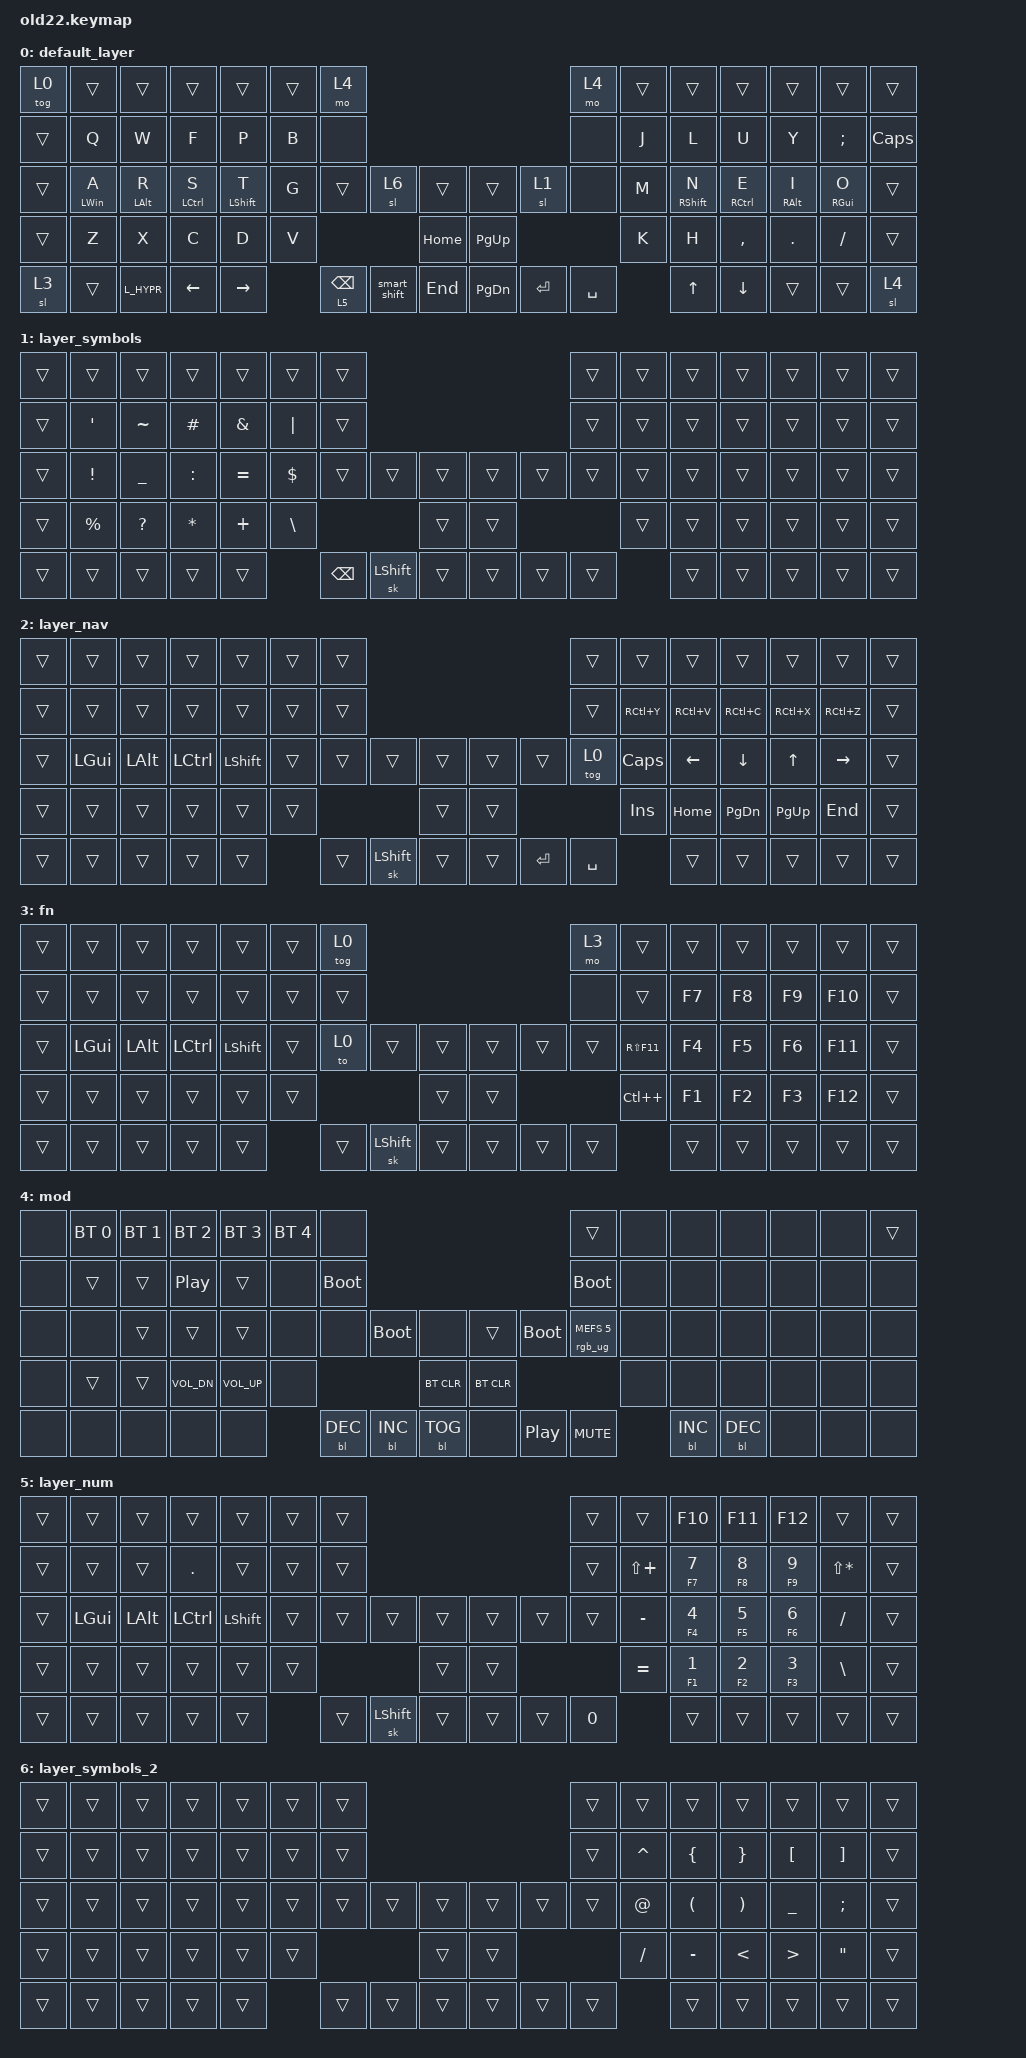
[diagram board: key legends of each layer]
#include "general.h"
#include <behaviors.dtsi>
#include <dt-bindings/zmk/backlight.h>
#include <dt-bindings/zmk/bt.h>
#include <dt-bindings/zmk/keys.h>
#include <dt-bindings/zmk/rgb.h>

/ {
    behaviors {
        #include "macros.dtsi"
      #include "version.dtsi"
      #ifndef VERSION_MACRO

        #endif

        hm: homerow_mods {
            compatible = "zmk,behavior-hold-tap";
            label = "HOMEROW_MODS";
            #binding-cells = <2>;
            tapping-term-ms = <280>;
            flavor = "balanced";
            bindings = <&kp>, <&kp>;

            require-prior-idle-ms = <150>;
            quick-tap-ms = <175>;
            hold-trigger-key-positions = <29 30 31 32 41 42 43 44 15 16 63 64 24>;
            hold-trigger-on-release;
        };

        smart_shift: smart_shift {
            compatible = "zmk,behavior-mod-morph";
            label = "SMART_SHIFT";
            bindings = <&sk LEFT_SHIFT>, <&caps_word>;

            #binding-cells = <0>;
            mods = <(MOD_LSFT)>;
        };

        smart_backspace: smart_backspace {
            compatible = "zmk,behavior-hold-tap";
            label = "SMART_BACKSPACE";
            bindings = <&mo>, <&kp>;

            #binding-cells = <2>;
            quick-tap-ms = <175>;
            tapping-term-ms = <280>;
            hold-trigger-key-positions = <65>;
            flavor = "balanced";
            require-prior-idle-ms = <150>;
            hold-trigger-on-release;
        };

        long_hold_mt: long_hold_mt {
            compatible = "zmk,behavior-hold-tap";
            label = "LONG_HOLD_MT";
            bindings = <&kp>, <&kp>;

            #binding-cells = <2>;
            tapping-term-ms = <500>;
            flavor = "balanced";
            hold-trigger-key-positions = <55 56 57 43 42 41 23 24 25 70>;
        };
    };

    macros {
        vim_write: vim_write {
            compatible = "zmk,behavior-macro";
            #binding-cells = <0>;
            bindings = <&kp COLON &kp W &kp ENTER>;
            label = "VIM_WRITE";
        };

        vim_quit: vim_quit {
            compatible = "zmk,behavior-macro";
            #binding-cells = <0>;
            bindings = <&kp COLON &kp Q &kp EXCL &kp ENTER>;
            label = "VIM_QUIT";
        };

        select_line: select_line {
            compatible = "zmk,behavior-macro";
            #binding-cells = <0>;
            bindings =
                <&kp HOME>,
                <&macro_press>,
                <&kp LEFT_SHIFT>,
                <&macro_tap>,
                <&kp END>,
                <&macro_release>,
                <&kp LEFT_SHIFT>;

            label = "SELECT_LINE";
        };

        L_HYPR: L_HYPR {
            compatible = "zmk,behavior-macro";
            #binding-cells = <0>;
            bindings = <&kp LC(LS(LA(LEFT_GUI)))>;
            label = "L_HYPR";
        };
    };

    combos {
        compatible = "zmk,combos";

        esc_homerow {
            bindings = <&kp ESC>;
            key-positions = <17 18>;
        };

        tab_homerow {
            bindings = <&kp TAB>;
            key-positions = <23 24>;
        };

        combo_vimwrite {
            bindings = <&vim_write>;
            key-positions = <50 51>;
        };

        combo_vimquit {
            bindings = <&vim_quit>;
            key-positions = <54 55>;
        };

        move_workspace_left {
            bindings = <&kp LG(LC(LEFT_ARROW))>;
            key-positions = <33 32>;
        };

        move_workspace_right {
            bindings = <&kp RG(RC(RIGHT_ARROW))>;
            key-positions = <41 40>;
        };

        select_line {
            bindings = <&select_line>;
            key-positions = <47 48>;
        };

        num_word {
            bindings = <&tog 5>;
            key-positions = <65 70>;
        };

        hyphen {
            bindings = <&kp MINUS>;
            key-positions = <58 57>;
        };

        dot {
            bindings = <&kp DOT>;
            key-positions = <57 56>;
            layers = <5>;
        };
    };

    keymap {
        compatible = "zmk,keymap";

        default_layer {
            bindings = <
&tog 0  &trans          &trans          &trans              &trans            &trans  &mo 4                                                                           &mo 4      &trans  &trans             &trans               &trans           &trans           &trans
&trans  &kp Q           &kp W           &kp F               &kp P             &kp B   &none                                                                           &none      &kp J   &kp L              &kp U                &kp Y            &kp SEMICOLON    &kp CAPSLOCK
&trans  &hm LEFT_WIN A  &hm LEFT_ALT R  &hm LEFT_CONTROL S  &hm LEFT_SHIFT T  &kp G   &trans                        &sl 6         &trans        &trans     &sl 1      &none      &kp M   &hm RIGHT_SHIFT N  &hm RIGHT_CONTROL E  &hm RIGHT_ALT I  &hm RIGHT_GUI O  &trans
&trans  &kp Z           &kp X           &kp C               &kp D             &kp V                                               &kp HOME      &kp PG_UP                        &kp K   &kp H              &kp COMMA            &kp DOT          &kp SLASH        &trans
&sl 3   &trans          &L_HYPR         &kp LEFT_ARROW      &kp RIGHT                 &smart_backspace 5 BACKSPACE  &smart_shift  &kp END       &kp PG_DN  &kp ENTER  &kp SPACE          &kp UP_ARROW       &kp DOWN             &trans           &trans           &sl 4
            >;
        };

        layer_symbols {
            bindings = <
&trans  &trans           &trans          &trans        &trans         &trans         &trans                                                     &trans  &trans  &trans  &trans  &trans  &trans  &trans
&trans  &kp SQT          &kp TILDE       &kp HASH      &kp AMPERSAND  &kp PIPE       &trans                                                     &trans  &trans  &trans  &trans  &trans  &trans  &trans
&trans  &kp EXCLAMATION  &kp UNDERSCORE  &kp COLON     &kp EQUAL      &kp DOLLAR     &trans         &trans          &trans      &trans  &trans  &trans  &trans  &trans  &trans  &trans  &trans  &trans
&trans  &kp PERCENT      &kp QUESTION    &kp ASTERISK  &kp PLUS       &kp BACKSLASH                                 &trans      &trans                  &trans  &trans  &trans  &trans  &trans  &trans
&trans  &trans           &trans          &trans        &trans                        &kp BACKSPACE  &sk LEFT_SHIFT  &trans      &trans  &trans  &trans          &trans  &trans  &trans  &trans  &trans
            >;
        };

        layer_nav {
            bindings = <
&trans  &trans    &trans    &trans     &trans          &trans  &trans                                                 &trans     &trans     &trans     &trans     &trans        &trans     &trans
&trans  &trans    &trans    &trans     &trans          &trans  &trans                                                 &trans     &kp RC(Y)  &kp RC(V)  &kp RC(C)  &kp RC(X)     &kp RC(Z)  &trans
&trans  &kp LGUI  &kp LALT  &kp LCTRL  &kp LEFT_SHIFT  &trans  &trans  &trans          &trans      &trans  &trans     &tog 0     &kp CAPS   &kp LEFT   &kp DOWN   &kp UP_ARROW  &kp RIGHT  &trans
&trans  &trans    &trans    &trans     &trans          &trans                          &trans      &trans                        &kp INS    &kp HOME   &kp PG_DN  &kp PG_UP     &kp END    &trans
&trans  &trans    &trans    &trans     &trans                  &trans  &sk LEFT_SHIFT  &trans      &trans  &kp ENTER  &kp SPACE             &trans     &trans     &trans        &trans     &trans
            >;
        };

        fn {
            bindings = <
&trans  &trans    &trans    &trans     &trans     &trans  &tog 0                                              &mo 3   &trans        &trans  &trans  &trans  &trans   &trans
&trans  &trans    &trans    &trans     &trans     &trans  &trans                                              &none   &trans        &kp F7  &kp F8  &kp F9  &kp F10  &trans
&trans  &kp LGUI  &kp LALT  &kp LCTRL  &kp LSHFT  &trans  &to 0   &trans          &trans      &trans  &trans  &trans  &kp RS(F11)   &kp F4  &kp F5  &kp F6  &kp F11  &trans
&trans  &trans    &trans    &trans     &trans     &trans                          &trans      &trans                  &kp LC(PLUS)  &kp F1  &kp F2  &kp F3  &kp F12  &trans
&trans  &trans    &trans    &trans     &trans             &trans  &sk LEFT_SHIFT  &trans      &trans  &trans  &trans                &trans  &trans  &trans  &trans   &trans
            >;
        };

        mod {
            bindings = <
&none  &bt BT_SEL 0  &bt BT_SEL 1  &bt BT_SEL 2  &bt BT_SEL 3     &bt BT_SEL 4  &none                                                              &trans                  &none  &none       &none       &none  &none  &trans
&none  &trans        &trans        &kp C_PP      &trans           &none         &bootloader                                                        &bootloader             &none  &none       &none       &none  &none  &none
&none  &none         &trans        &trans        &trans           &none         &none        &bootloader  &none           &trans      &bootloader  &rgb_ug RGB_MEFS_CMD 5  &none  &none       &none       &none  &none  &none
&none  &trans        &trans        &kp C_VOL_DN  &kp C_VOLUME_UP  &none                                   &bt BT_CLR      &bt BT_CLR                                       &none  &none       &none       &none  &none  &none
&none  &none         &none         &none         &none                          &bl BL_DEC   &bl BL_INC   &bl BL_TOG      &none       &kp C_PP     &kp C_MUTE                     &bl BL_INC  &bl BL_DEC  &none  &none  &none
            >;
        };

        layer_num {
            bindings = <
&trans  &trans    &trans    &trans     &trans     &trans  &trans                                              &trans        &trans        &kp F10                    &kp F11                    &kp F12                    &trans        &trans
&trans  &trans    &trans    &kp DOT    &trans     &trans  &trans                                              &trans        &kp LS(PLUS)  &long_hold_mt F7 N7        &long_hold_mt F8 NUMBER_8  &long_hold_mt F9 NUMBER_9  &kp LS(STAR)  &trans
&trans  &kp LGUI  &kp LALT  &kp LCTRL  &kp LSHFT  &trans  &trans  &trans          &trans      &trans  &trans  &trans        &kp MINUS     &long_hold_mt F4 NUMBER_4  &long_hold_mt F5 NUMBER_5  &long_hold_mt F6 NUMBER_6  &kp FSLH      &trans
&trans  &trans    &trans    &trans     &trans     &trans                          &trans      &trans                        &kp EQUAL     &long_hold_mt F1 NUMBER_1  &long_hold_mt F2 NUMBER_2  &long_hold_mt F3 NUMBER_3  &kp BSLH      &trans
&trans  &trans    &trans    &trans     &trans             &trans  &sk LEFT_SHIFT  &trans      &trans  &trans  &kp NUMBER_0                &trans                     &trans                     &trans                     &trans        &trans
            >;
        };

        layer_symbols_2 {
            bindings = <
&trans  &trans  &trans  &trans  &trans  &trans  &trans                                      &trans  &trans     &trans                &trans                 &trans            &trans             &trans
&trans  &trans  &trans  &trans  &trans  &trans  &trans                                      &trans  &kp CARET  &kp LEFT_BRACE        &kp RIGHT_BRACE        &kp LEFT_BRACKET  &kp RIGHT_BRACKET  &trans
&trans  &trans  &trans  &trans  &trans  &trans  &trans  &trans  &trans      &trans  &trans  &trans  &kp AT     &kp LEFT_PARENTHESIS  &kp RIGHT_PARENTHESIS  &kp UNDERSCORE    &kp SEMICOLON      &trans
&trans  &trans  &trans  &trans  &trans  &trans                  &trans      &trans                  &kp SLASH  &kp MINUS             &kp LESS_THAN          &kp GREATER_THAN  &kp DOUBLE_QUOTES  &trans
&trans  &trans  &trans  &trans  &trans          &trans  &trans  &trans      &trans  &trans  &trans             &trans                &trans                 &trans            &trans             &trans
            >;
        };
    };
};
